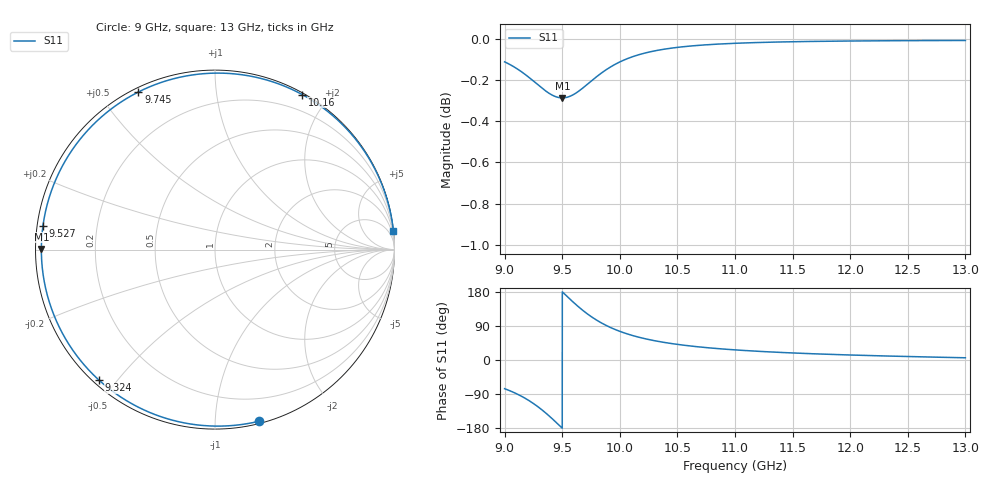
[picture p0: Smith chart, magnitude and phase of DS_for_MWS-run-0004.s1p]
! TOUCHSTONE file generated by CST DESIGN STUDIO
! Date and time: Tue Feb  4 13:47:38 2025
! Project name: C:\Work\MatlabApps\UnitCellOptimizationMatlab\CST\unitcell.cst
! Tree item: Tasks\Sweep1\SPara1\S-Parameters
! Header version: 2024
! Port assignment regex: !\s*Touchstone port\s*([0-9]+)\s*=\s*(CST MWS port|CST DES external port|CST DES block port)\s*(.+)\s* \(\"(.*)\"\)(\s*mode\s*([0-9]+))?.*
! Touchstone port assignment:
! Touchstone port 1 = CST DES external port 1 ("")
# GHz S MA R 50
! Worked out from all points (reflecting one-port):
!   4001 points, 9 GHz to 13 GHz, reference 50 ohm
!   lowest |S11| = -0.3 dB at 9.501 GHz (marker M1), VSWR 60.65, Z = 0.824 + j0.0803 ohm
!   phase of S11 starts at -76 deg and turns -278 deg over the sweep
!   S11 on the Smith chart (normalised r, x): 9 GHz: 0.02, -1.29; 9.324 GHz: 0.02, -0.45; 9.527 GHz: 0.02, +0.07; 9.745 GHz: 0.02, +0.63; 10.16 GHz: 0.02, +1.71; 13 GHz: 0, +20
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9  0.9873 -75.7
9.085  0.9844 -86.4
9.187  0.9799 -102.6
9.258  0.9763 -116.5
9.324  0.9729 -131.5
9.371  0.9707 -143.5
9.42  0.9688 -156.8
9.461  0.9679 -168.5
9.5  0.9676 -179.9
9.501  0.9676 179.8
9.527  0.9677 172.2
9.581  0.9688 156.7
9.641  0.9711 140.5
9.692  0.9736 127.8
9.745  0.9764 115.9
9.797  0.979 105.5
9.855  0.9818 95.4
9.927  0.9847 84.7
10  0.9872 75.6
10.159  0.9911 60.6
10.314  0.9935 50.2
10.5  0.9953 41.2
10.722  0.9966 33.5
11  0.9976 26.7
11.5  0.9985 18.6
12  0.9989 13.2
12.5  0.9991 9.2
13  0.9992 5.9
